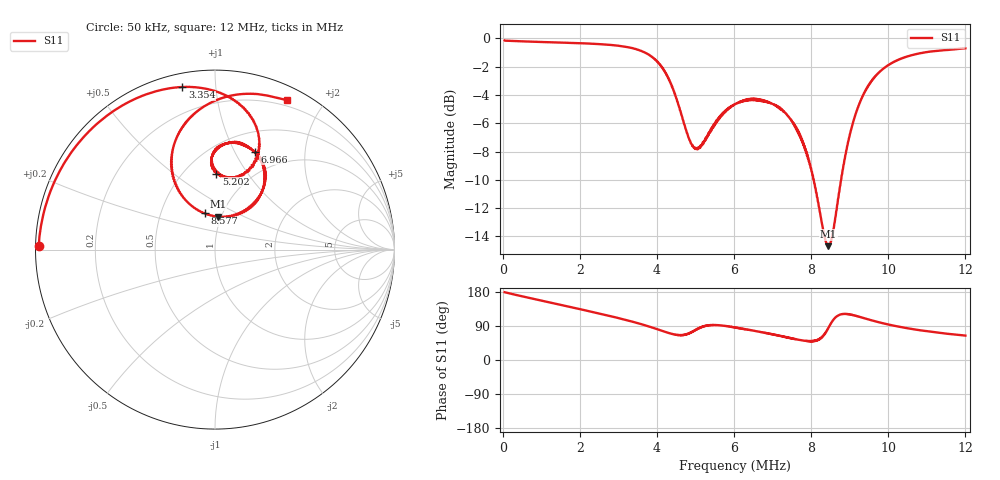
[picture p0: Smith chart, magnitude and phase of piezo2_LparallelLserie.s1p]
# Hz S RI R 50
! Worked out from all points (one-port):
!   1010 points, 50 kHz to 12 MHz, reference 50 ohm
!   lowest |S11| = -14.7 dB at 8.447 MHz (marker M1), VSWR 1.45, Z = 48.1 + j18.3 ohm
!   |S11| at or under -10 dB: 8.069 MHz to 8.778 MHz (709.7 kHz wide, 8.43 % of centre)
!   S11 on the Smith chart (normalised r, x): 50 kHz: 0.01, +0.01; 3.354 MHz: 0.07, +0.82; 5.202 MHz: 0.71, +0.73; 6.966 MHz: 0.72, +1.21; 8.577 MHz: 0.82, +0.35; 12 MHz: 0.14, +1.58
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50000  -0.9831 0.0195
784200  -0.9239 0.3057
1554043  -0.7846 0.5631
2347443  -0.5668 0.771
3046186  -0.3143 0.8861
3354186  -0.1826 0.9055
3673929  -0.0335 0.892
3958129  0.102 0.8333
4277929  0.2239 0.699
4538429  0.2383 0.5461
4870072  0.1307 0.4103
5201672  0.00779 0.4235
5545072  -0.018 0.5133
6030715  0.0464 0.5843
6492515  0.1281 0.5908
6966215  0.2207 0.5462
7522858  0.2834 0.4191
7996558  0.222 0.2683
8340058  0.0809 0.1842
8446601  0.0152 0.1837
8576901  -0.0582 0.2033
9015101  -0.2296 0.4025
9323001  -0.2298 0.5774
9713844  -0.1381 0.7336
1.008094e7  -0.0283 0.8159
1.050734e7  0.096 0.8589
1.124159e7  0.2693 0.8621
1.199959e7  0.3986 0.832
